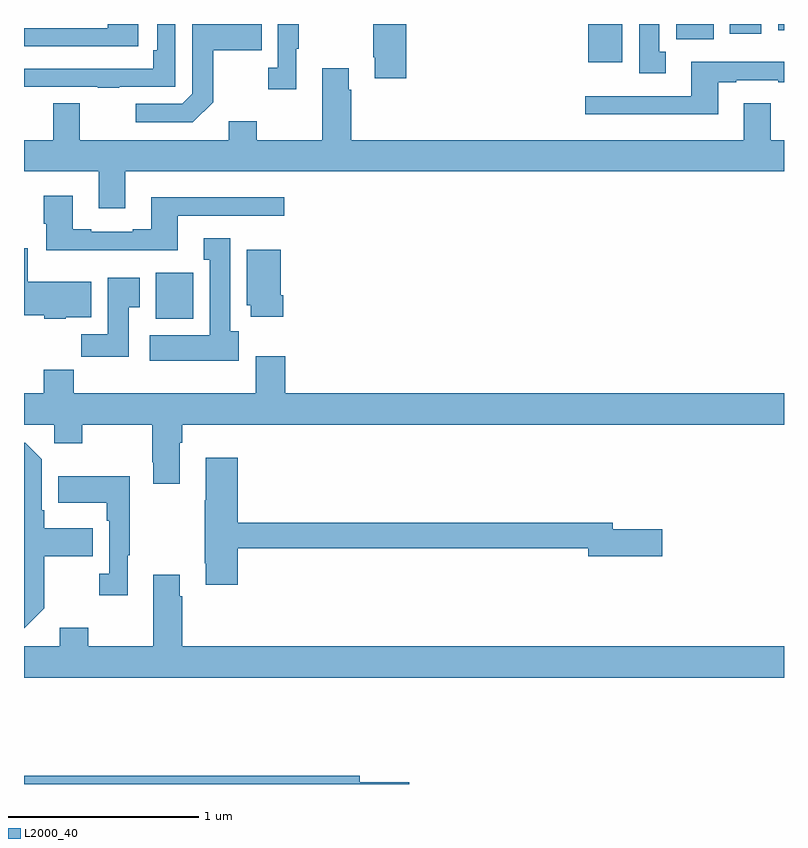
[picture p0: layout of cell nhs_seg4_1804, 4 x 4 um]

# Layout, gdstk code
import gdstk
lib = gdstk.Library(unit=1e-6, precision=1e-09)
def R(c, l, rs):  # rectangles x0, y0, x1, y1
    for r in rs: c.add(gdstk.rectangle(r[:2], r[2:], *l))
def P(c, l, *ps):  # polygons
    for p in ps: c.add(gdstk.Polygon(p, *l))
L2000_40 = (2000, 40)

nhs_seg4_1804 = lib.new_cell('nhs_seg4_1804')
R(nhs_seg4_1804, L2000_40, [(203.693,825.35,203.89,825.592), (205.97,826.7,206.149,826.9), (206.432,826.82,206.629,826.9), (206.714,826.848,206.881,826.9), (206.969,826.868,207,826.9)])
P(nhs_seg4_1804, L2000_40, [(203.602,826.9),(203.441,826.9),(203.441,826.878),(203,826.878),(203,826.782),(203.602,826.782)],
  [(203.995,826.489),(203.995,826.762),(204.251,826.762),(204.251,826.9),(203.886,826.9),(203.886,826.533),(203.832,826.479),(203.589,826.479),(203.589,826.383),(203.889,826.383)],
  [(205.013,826.9),(204.838,826.9),(204.838,826.726),(204.845,826.726),(204.845,826.614),(205.013,826.614)],
  [(204.433,826.769),(204.445,826.769),(204.445,826.9),(204.336,826.9),(204.336,826.67),(204.285,826.67),(204.285,826.557),(204.433,826.557)],
  [(203.501,826.569),(203.796,826.569),(203.796,826.9),(203.7,826.9),(203.7,826.762),(203.68,826.762),(203.68,826.665),(203.005,826.665),(203.005,826.664),(203,826.664),(203,826.569),(203.389,826.569),(203.389,826.564),(203.501,826.564)],
  [(206.377,826.754),(206.344,826.754),(206.344,826.9),(206.237,826.9),(206.237,826.641),(206.377,826.641)],
  [(206.653,826.593),(206.749,826.593),(206.749,826.605),(206.969,826.605),(206.969,826.593),(207,826.593),(207,826.702),(206.513,826.702),(206.513,826.521),(205.953,826.521),(205.953,826.424),(206.653,826.424)],
  [(207,826.288),(206.929,826.288),(206.929,826.483),(206.789,826.483),(206.789,826.288),(204.722,826.288),(204.722,826.553),(204.709,826.553),(204.709,826.666),(204.569,826.666),(204.569,826.288),(204.225,826.288),(204.225,826.387),(204.077,826.387),(204.077,826.288),(203.293,826.288),(203.293,826.483),(203.153,826.483),(203.153,826.288),(203,826.288),(203,826.124),(203.393,826.124),(203.393,825.93),(203.533,825.93),(203.533,826.124),(207,826.124)],
  [(203.809,825.891),(204.37,825.891),(204.37,825.988),(203.669,825.988),(203.669,825.82),(203.573,825.82),(203.573,825.807),(203.353,825.807),(203.353,825.82),(203.257,825.82),(203.257,825.997),(203.105,825.997),(203.105,825.849),(203.117,825.849),(203.117,825.71),(203.809,825.71)],
  [(204.13,825.282),(204.085,825.282),(204.085,825.772),(203.945,825.772),(203.945,825.659),(203.978,825.659),(203.978,825.262),(203.661,825.262),(203.661,825.128),(204.13,825.128)],
  [(203.22,825.356),(203.353,825.356),(203.353,825.544),(203.02,825.544),(203.02,825.721),(203,825.721),(203,825.368),(203.106,825.368),(203.106,825.35),(203.22,825.35)],
  [(204.365,825.472),(204.352,825.472),(204.352,825.712),(204.173,825.712),(204.173,825.42),(204.194,825.42),(204.194,825.36),(204.365,825.36)],
  [(203.551,825.409),(203.608,825.409),(203.608,825.565),(203.441,825.565),(203.441,825.268),(203.302,825.268),(203.302,825.15),(203.551,825.15)],
  [(203.261,825.08),(203.105,825.08),(203.105,824.956),(203,824.956),(203,824.792),(203.16,824.792),(203.16,824.693),(203.307,824.693),(203.307,824.792),(203.674,824.792),(203.674,824.593),(203.681,824.593),(203.681,824.481),(203.821,824.481),(203.821,824.696),(203.834,824.696),(203.834,824.792),(207,824.792),(207,824.956),(204.374,824.956),(204.374,825.151),(204.221,825.151),(204.221,824.956),(203.261,824.956)],
  [(203.107,823.825),(203.107,824.098),(203.363,824.098),(203.363,824.245),(203.107,824.245),(203.107,824.341),(203.094,824.341),(203.094,824.61),(203.007,824.697),(203,824.697),(203,823.719),(203.001,823.719)],
  [(204.125,824.14),(205.97,824.14),(205.97,824.098),(206.359,824.098),(206.359,824.24),(206.098,824.24),(206.098,824.276),(204.125,824.276),(204.125,824.617),(203.957,824.617),(203.957,824.393),(203.95,824.393),(203.95,824.062),(203.957,824.062),(203.957,823.95),(204.125,823.95)],
  [(203.545,824.105),(203.557,824.105),(203.557,824.521),(203.179,824.521),(203.179,824.381),(203.436,824.381),(203.436,824.285),(203.448,824.285),(203.448,824.006),(203.397,824.006),(203.397,823.893),(203.545,823.893)],
  [(207,823.624),(203.834,823.624),(203.834,823.889),(203.821,823.889),(203.821,824.002),(203.681,824.002),(203.681,823.624),(203.337,823.624),(203.337,823.723),(203.189,823.723),(203.189,823.624),(203,823.624),(203,823.46),(207,823.46)],
  [(205.027,822.908),(204.766,822.908),(204.766,822.944),(203,822.944),(203,822.9),(205.027,822.9)])

lib.write_gds('nhs_seg4_1804.gds')
